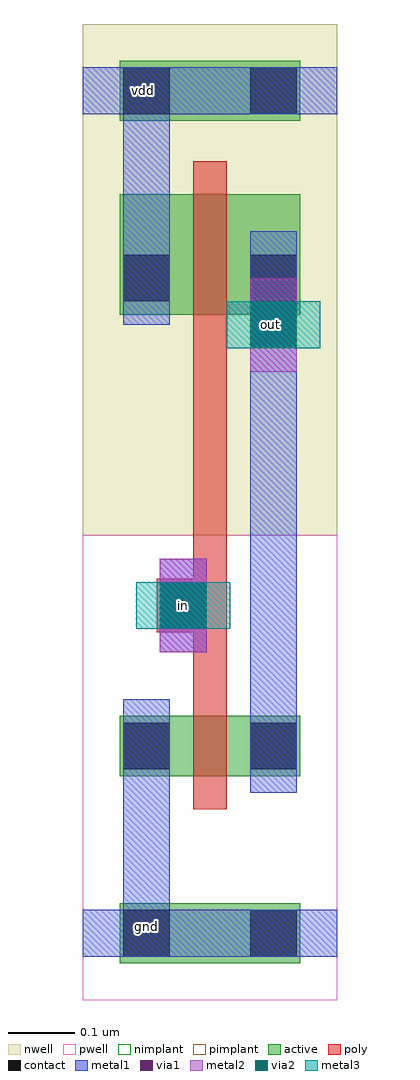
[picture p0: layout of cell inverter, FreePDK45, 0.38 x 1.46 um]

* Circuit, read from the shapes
.subckt inverter gnd in out vdd
M1 out in gnd gnd nfet w=0.09u l=0.05u
M2 out in vdd vdd pfet w=0.18u l=0.05u
.ends

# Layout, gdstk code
import gdstk
lib = gdstk.Library(unit=1e-6, precision=5e-10)
def R(c, l, rs):  # rectangles x0, y0, x1, y1
    for r in rs: c.add(gdstk.rectangle(r[:2], r[2:], *l))
active = (1, 0)
pwell = (2, 0)
nwell = (3, 0)
nimplant = (4, 0)
pimplant = (5, 0)
poly = (9, 0)
contact = (10, 0)
metal1 = (11, 0)
via1 = (12, 0)
metal2 = (13, 0)
via2 = (14, 0)
metal3 = (15, 0)

inverter = lib.new_cell('inverter')
R(inverter, active, [(0.055,-0.045,0.325,0.045), (0.055,0.235,0.325,0.325), (0.055,0.925,0.325,1.105), (0.055,1.215,0.325,1.305)])
R(inverter, pwell, [(0,-0.1,0.38,0.595)])
R(inverter, nwell, [(0,0.595,0.38,1.36)])
R(inverter, nimplant, [(0.055,0.235,0.325,0.325), (0.055,1.215,0.325,1.305)])
R(inverter, pimplant, [(0.055,-0.045,0.325,0.045), (0.055,0.925,0.325,1.105)])
R(inverter, poly, [(0.165,0.185,0.215,1.155), (0.11,0.45,0.165,0.53)])
R(inverter, contact, [(0.06,-0.035,0.13,0.035), (0.25,-0.035,0.32,0.035), (0.06,0.245,0.13,0.315), (0.25,0.245,0.32,0.315), (0.115,0.455,0.185,0.525), (0.06,0.945,0.13,1.015), (0.25,0.945,0.32,1.015), (0.06,1.225,0.13,1.295), (0.25,1.225,0.32,1.295)])
R(inverter, metal1, [(0,-0.035,0.38,0.035), (0.06,0.035,0.13,0.35), (0.25,0.21,0.32,1.05), (0.115,0.42,0.185,0.56), (0.06,0.91,0.13,1.225), (0,1.225,0.38,1.295)])
R(inverter, via1, [(0.115,0.455,0.185,0.525), (0.25,0.875,0.32,0.945)])
R(inverter, metal2, [(0.115,0.42,0.185,0.56), (0.25,0.84,0.32,0.98)])
R(inverter, via2, [(0.115,0.455,0.185,0.525), (0.25,0.875,0.32,0.945)])
R(inverter, metal3, [(0.08,0.455,0.22,0.525), (0.215,0.875,0.355,0.945)])
inverter.add(gdstk.Label('gnd', (0.095,0.01), layer=11, texttype=0))
inverter.add(gdstk.Label('vdd', (0.09,1.26), layer=11, texttype=0))
inverter.add(gdstk.Label('out', (0.28,0.91), layer=15, texttype=0))
inverter.add(gdstk.Label('in', (0.15,0.49), layer=15, texttype=0))

lib.write_gds('inverter.gds')
